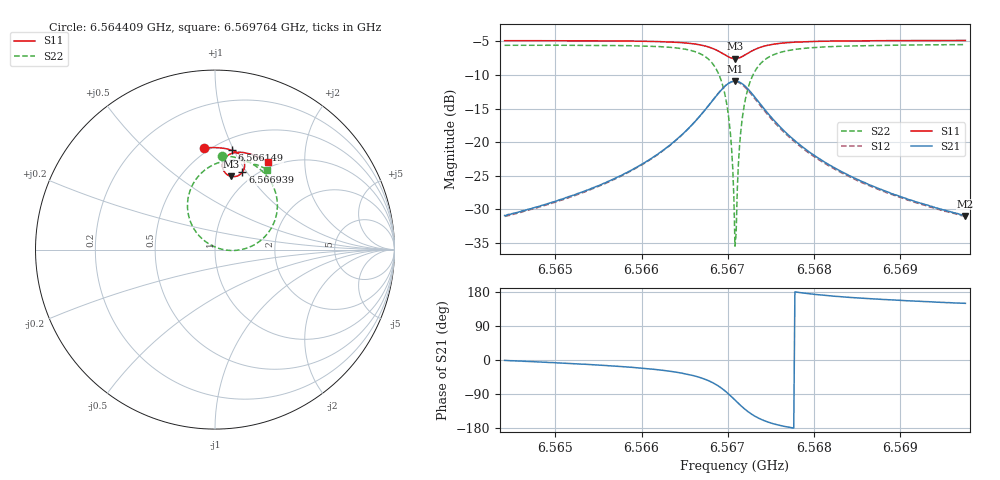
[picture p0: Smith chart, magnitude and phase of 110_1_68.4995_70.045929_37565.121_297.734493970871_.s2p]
#  HZ  S  RI  R  50.00
! Rohde & Schwarz Vector Network Analyzer
! Rohde-Schwarz,ZNB20-2Port,1311601062101988,3.16
! Created: UTC 3/20/2024, 5:08:39 PM
! freq[Hz]  re:S11  im:S11  re:S21  im:S21  re:S12  im:S12  re:S22  im:S22
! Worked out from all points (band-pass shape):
!   401 points, 6.564409 GHz to 6.569764 GHz, reference 50 ohm
!   highest |S21| = -10.92 dB at 6.567086 GHz (marker M1); lowest = -31.0 dB at 6.569764 GHz (marker M2)
!   |S21| within 3 dB of the highest: 6.56682 GHz to 6.567355 GHz (535.6 kHz wide, 0.00816 % of centre)
!   lowest |S11| = -7.6 dB at 6.567086 GHz (marker M3), VSWR 2.43, Z = 41.5 + j41 ohm
!   |S11| at or under -10 dB: nowhere
!   |S22| runs from -35.5 to -5.5 dB; largest |S21 - S12| = 0.013
!   S11 on the Smith chart (normalised r, x): 6.564409 GHz: 0.47, +0.79; 6.566149 GHz: 0.61, +0.98; 6.566939 GHz: 0.87, +0.95; 6.569764 GHz: 0.91, +1.32
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6.5644093e9  -0.0587 0.566  0.0285 -0.00048  0.028 -0.000989  0.0409 0.5238
6.5653061e9  0.0149 0.5676  0.0417 -0.00804  0.0411 -0.00852  0.1265 0.5101
6.5661494e9  0.0941 0.5529  0.0712 -0.0328  0.0701 -0.0337  0.238 0.4579
6.566203e9  0.0997 0.5508  0.0743 -0.0364  0.0731 -0.0372  0.2472 0.4507
6.5665109e9  0.1356 0.5298  0.0963 -0.0715  0.095 -0.0728  0.3091 0.3815
6.566725e9  0.1602 0.4966  0.1095 -0.1292  0.1069 -0.1318  0.3465 0.2702
6.5668455e9  0.165 0.4637  0.0988 -0.1867  0.0942 -0.1902  0.3327 0.1604
6.5669392e9  0.1528 0.4317  0.0607 -0.2416  0.0523 -0.2443  0.2633 0.0582
6.5669794e9  0.1405 0.419  0.0312 -0.2622  0.0211 -0.2637  0.2092 0.0215
6.5670195e9  0.1239 0.4099  -0.00595 -0.2757  -0.0176 -0.2751  0.1412 -0.00122
6.5670463e9  0.1108 0.4068  -0.034 -0.2791  -0.046 -0.2766  0.0906 -0.00501
6.5670731e9  0.0971 0.4068  -0.0629 -0.2771  -0.0748 -0.2722  0.0392 0.00153
6.5670864e9  0.0901 0.4078  -0.0771 -0.274  -0.089 -0.2679  0.0143 0.0088
6.5671132e9  0.0771 0.4121  -0.1044 -0.2631  -0.1152 -0.2553  -0.0324 0.0309
6.56714e9  0.0655 0.4193  -0.1284 -0.2479  -0.1379 -0.2383  -0.0727 0.0612
6.5671801e9  0.0522 0.4338  -0.157 -0.2182  -0.1636 -0.2073  -0.1178 0.1167
6.5672337e9  0.043 0.4557  -0.1786 -0.1748  -0.1816 -0.1633  -0.1484 0.1958
6.5673006e9  0.043 0.4815  -0.1848 -0.1245  -0.1845 -0.1145  -0.1503 0.2839
6.567555e9  0.0826 0.5315  -0.1394 -0.0254  -0.1362 -0.0213  -0.0473 0.4502
6.5679833e9  0.1434 0.5421  -0.0813 0.00856  -0.0791 0.00986  0.0842 0.4974
6.5688802e9  0.2275 0.5217  -0.0393 0.0151  -0.0384 0.0155  0.2145 0.4801
6.5697636e9  0.2928 0.4901  -0.0244 0.0143  -0.0239 0.0145  0.2924 0.4442
